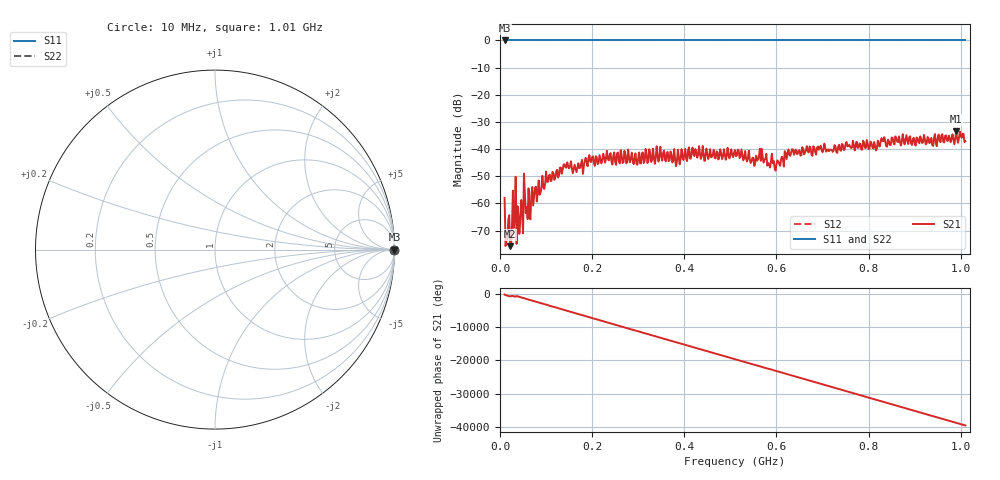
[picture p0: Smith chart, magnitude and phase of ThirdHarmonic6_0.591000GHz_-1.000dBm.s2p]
! 8/15/2025 7:12:09 PM
! C:\ANRITSUVNA\TEMP\TEMP.S2P
! CHANNEL.1
! TR.MEASUREMENT
! RAW.DATA
! RF.CORRECTION.OFF
! AVERAGING.OFF
! IF.BANDWIDTH: 5KHZ
! SWEEPTYPE:  FREQ.SWEEP(Linear)
! Reference Plane Port Info
! PORT:  PORT1  PORT2
! DISTANCE:  0  m  0  m
! TIME:  0  s  0  s
! PHASE.OFFSET:  0  deg.  0  deg.
! LOSS:  0  dB  0  dB
! REF.LOSS:  0  dB  0  dB
! REF.FREQ:  0  Hz  0  Hz
! Power Info
! POWER:  -20  dBm  -20  dBm
! EFF.POWER:  -20  dBm  -20  dBm
! SOURCE.ATTEN:  0  dB  0  dB
! TEST.ATTEN:  0  dB  0  dB
# GHZ S RI R 50.0
! FREQ.GHZ  S11RE  S11IM  S21RE  S21IM  S12RE  S12IM  S22RE  S22IM
!; PortSelection: Port_12
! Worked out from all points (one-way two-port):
!   501 points, 10 MHz to 1.01 GHz, reference 50 ohm
!   highest |S21| = -33.39 dB at 990 MHz (marker M1); lowest = -75.7 dB at 22 MHz (marker M2)
!   lowest |S11| = 0.0 dB at 10 MHz (marker M3)
!   |S11| at or under -10 dB: nowhere
!   |S22| runs from 0.0 to 0.0 dB; largest |S21 - S12| = 1
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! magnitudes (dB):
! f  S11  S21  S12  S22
! 10 MHz  0.0  -57.9  0.0  0.0
! 16 MHz  0.0  -72.9  0.0  0.0
! 22 MHz  0.0  -75.7  0.0  0.0
! 28 MHz  0.0  -55.3  0.0  0.0
! 30 MHz  0.0  -69.0  0.0  0.0
! 40 MHz  0.0  -64.3  0.0  0.0
! 42 MHz  0.0  -71.2  0.0  0.0
! 46 MHz  0.0  -58.7  0.0  0.0
! 50 MHz  0.0  -71.0  0.0  0.0
! 62 MHz  0.0  -54.4  0.0  0.0
! 74 MHz  0.0  -57.3  0.0  0.0
! 104 MHz  0.0  -52.1  0.0  0.0
! 178 MHz  0.0  -43.9  0.0  0.0
! 344 MHz  0.0  -44.6  0.0  0.0
! 510 MHz  0.0  -40.4  0.0  0.0
! 566 MHz  0.0  -44.3  0.0  0.0
! 596 MHz  0.0  -46.9  0.0  0.0
! 622 MHz  0.0  -43.7  0.0  0.0
! 678 MHz  0.0  -42.5  0.0  0.0
! 844 MHz  0.0  -37.1  0.0  0.0
! 990 MHz  0.0  -33.4  0.0  0.0
! 1.01 GHz  0.0  -37.1  0.0  0.0
